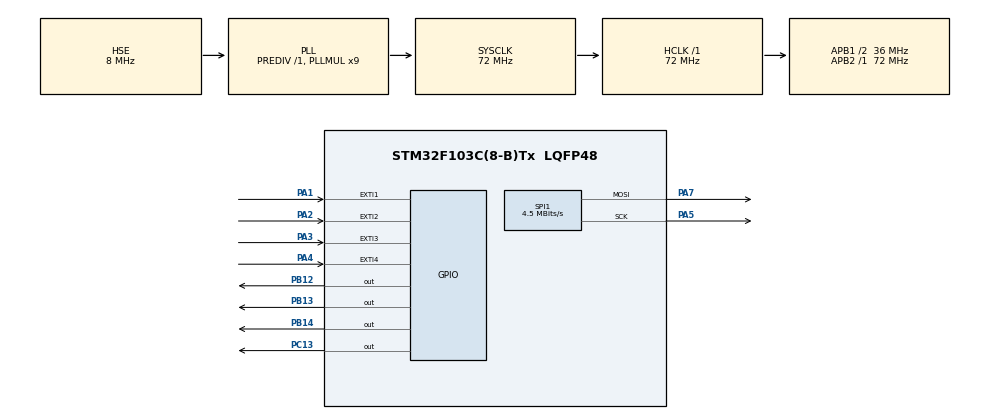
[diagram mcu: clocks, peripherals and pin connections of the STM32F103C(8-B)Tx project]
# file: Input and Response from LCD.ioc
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Mcu.Family=STM32F1
Mcu.Name=STM32F103C(8-B)Tx
Mcu.Package=LQFP48
NVIC.EXTI1_IRQn=true\:0\:0\:false\:false\:true\:true\:true\:true
NVIC.EXTI2_IRQn=true\:0\:0\:false\:false\:true\:true\:true\:true
NVIC.EXTI3_IRQn=true\:0\:0\:false\:false\:true\:true\:true\:true
NVIC.EXTI4_IRQn=true\:0\:0\:false\:false\:true\:true\:true\:true
NVIC.PriorityGroup=NVIC_PRIORITYGROUP_4
PA1.GPIO_PuPd=GPIO_PULLUP
PA1.Signal=GPXTI1
PA13.Mode=Serial_Wire
PA13.Signal=SYS_JTMS-SWDIO
PA14.Mode=Serial_Wire
PA14.Signal=SYS_JTCK-SWCLK
PA2.GPIO_PuPd=GPIO_PULLUP
PA2.Signal=GPXTI2
PA3.GPIO_PuPd=GPIO_PULLUP
PA3.Signal=GPXTI3
PA4.GPIO_PuPd=GPIO_PULLUP
PA4.Signal=GPXTI4
PA5.Mode=TX_Only_Simplex_Unidirect_Master
PA5.Signal=SPI1_SCK
PA7.Mode=TX_Only_Simplex_Unidirect_Master
PA7.Signal=SPI1_MOSI
PB12.Signal=GPIO_Output
PB13.Signal=GPIO_Output
PB14.Signal=GPIO_Output
PC13-TAMPER-RTC.GPIO_Speed=GPIO_SPEED_FREQ_HIGH
PC13-TAMPER-RTC.Signal=GPIO_Output
PD0-OSC_IN.Mode=HSE-External-Oscillator
PD0-OSC_IN.Signal=RCC_OSC_IN
PD1-OSC_OUT.Mode=HSE-External-Oscillator
PD1-OSC_OUT.Signal=RCC_OSC_OUT
ProjectManager.HeapSize=0x200
ProjectManager.StackSize=0x400
ProjectManager.TargetToolchain=MDK-ARM V5.32
RCC.AHBFreq_Value=72000000
RCC.APB1CLKDivider=RCC_HCLK_DIV2
RCC.APB1Freq_Value=36000000
RCC.APB1TimFreq_Value=72000000
RCC.APB2Freq_Value=72000000
RCC.APB2TimFreq_Value=72000000
RCC.HCLKFreq_Value=72000000
RCC.PLLMUL=RCC_PLL_MUL9
RCC.PLLSourceVirtual=RCC_PLLSOURCE_HSE
RCC.SYSCLKFreq_VALUE=72000000
RCC.SYSCLKSource=RCC_SYSCLKSOURCE_PLLCLK
RCC.USBFreq_Value=72000000
SPI1.BaudRatePrescaler=SPI_BAUDRATEPRESCALER_16
SPI1.CalculateBaudRate=4.5 MBits/s
SPI1.Direction=SPI_DIRECTION_2LINES
SPI1.Mode=SPI_MODE_MASTER
SPI1.VirtualType=VM_MASTER
board=custom

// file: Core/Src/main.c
/* USER CODE BEGIN Header */
/**
  ******************************************************************************
  * @file           : main.c
  * @brief          : Main program body
  ******************************************************************************
  * @attention
  *
  * Copyright (c) 2023 STMicroelectronics.
  * All rights reserved.
  *
  * This software is licensed under terms that can be found in the LICENSE file
  * in the root directory of this software component.
  * If no LICENSE file comes with this software, it is provided AS-IS.
  *
  ******************************************************************************
  */
/* USER CODE END Header */
#include "main.h"

/* USER CODE BEGIN Includes */
#include "fonts.h"
#include "ST7735.h"
#include <cstring>
#include <time.h>
#include <stdlib.h>
#include <stdio.h>
#include <math.h>

/* USER CODE END Includes */

/* USER CODE BEGIN PD */
#define WIDTH      					ST7735_WIDTH 						// display width in pixels
#define HEIGHT      				ST7735_HEIGHT 						// display height in pixels
#define SNAKE_SIZE  				5   						// initial snake size
#define Background_Color 		ST7735_CYAN 		//In-game background color
#define Snake_Color					ST7735_BLUE  		//In_game snake color
#define Apple_Color 				ST7735_RED			//In-game apple color
#define UP									0   						//We use 0-3 numbers for directions
#define DOWN								1
#define RIGHT								2
#define LEFT								3
#define Cube_Size						6							//cube size for snake blocks and apple (LENGTH = 16 AND WIDTH = 16)
#define UpperLimitX         22            //limits for random number generation;
#define LowerLimitX         1							//for x and y coordinates of apple;
#define UpperLimitY         27 						//
#define LowerLimitY         1							//
#define Offset							(Cube_Size/2 - 1)  //fixes the postion of boxes onscreen
//#define ScreenRefreshDelay  300;							 //to match display rate with realtime operation
//#define TextDisp						1000;
/* USER CODE END PD */

SPI_HandleTypeDef hspi1;

/* USER CODE BEGIN PV */
int ScreenRefreshDelay = 200;
int TextDisp = 2000;
int inMenu = 0;
int CurrentLength = SNAKE_SIZE;
int CurrentDir;
int LastX = WIDTH - Cube_Size; 			//for snake's last box X
int LastY = HEIGHT - Cube_Size;			//for snake's last box Y
uint32_t previousMillis = 0;
uint32_t currentMillis = 0;
//int Direction[4] = {0, 0, 0, 0}; //[UP, DOWN, RIGHT, LEFT]
int dir = UP; //0 for UP, 1 for DOWN, 2 for RIGHT, 3 for LEFT

struct appleLoc {  //structure for coordinates of apple
	int x;
	int y;
};

struct snake {
	int x;
	int y;
};

/* USER CODE END PV */

void SystemClock_Config(void);
static void MX_GPIO_Init(void);
static void MX_SPI1_Init(void);

/* USER CODE BEGIN 0 */

struct appleLoc apple;  //initialized an appleLoc structure named apple
struct snake Snake[100]; //initialized a snake array structure named Snake with upto 100 blocks

//Function Definitions
void Menu_Init();
void Game_Init();
void Game_draw();
void New_Apple();
int Game_move();
void Loss_Message();
void Loss_Check();
void goUp();
void goDown();
void goLeft();
void goRight();

//Menu functions
void Menu_Init()
{
	inMenu = 1;
	ST7735_FillScreen(ST7735_YELLOW);
	ST7735_DrawString( WIDTH/2 - 28 , HEIGHT/2 , "PRESS UP", Font_7x10 , ST7735_RED , ST7735_YELLOW);					//Each character takes 7 pixel horizontal, 10 pixel vertical,
	ST7735_DrawString(  WIDTH/2 - 28 , HEIGHT/2 + 10 , "TO START", Font_7x10 , ST7735_RED , ST7735_YELLOW);		//Added 10 to Y axis for next line
	HAL_Delay(5);
	dir = DOWN;
	while(dir != UP)
	{
		HAL_Delay(1); //Delay required to register input from button
	}
	HAL_GPIO_TogglePin(GPIOC, GPIO_PIN_13);
	ST7735_FillScreen(ST7735_YELLOW);
	ST7735_DrawString( WIDTH/2 - 56 , HEIGHT/2 , "GAME STARTING...", Font_7x10 , ST7735_RED , ST7735_YELLOW);
	HAL_Delay(TextDisp);
}

void Game_Init()
{
	apple.x = ((rand() % (UpperLimitX - LowerLimitX + 1)) * Cube_Size) - 2;
  apple.y = ((rand() % (UpperLimitY - LowerLimitY + 1)) * Cube_Size) + 2;
	CurrentLength = SNAKE_SIZE;			//Initial snake size is 5 blocks
	CurrentDir = UP;								//Initial snake direction
	for(int i = 0; i < CurrentLength; i++) //initialized snake blocks' spawn location
	{
		Snake[i].x = (WIDTH/2);
		Snake[i].y = (HEIGHT/2) + (Cube_Size * i);
	}
	ST7735_FillScreen(Background_Color);  //Cleared the screen for game
	inMenu = 0;
}

void Game_draw()
{
	//Written By Muzammil
	 // Clear the screen
  //ST7735_FillScreen(Background_Color); //Edited by Faseeh (Not Needed)

	// Draw the apple
  ST7735_FillRectangle(apple.x - Offset, apple.y - Offset, Cube_Size - 1, Cube_Size - 1, Apple_Color); //Edited by Faseeh; subtracted 1 from w and h for empty space

  // Draw the snake //Edited by Faseeh (drawing the boxes on new location and removing the last box)
	ST7735_FillRectangle(LastX - Offset, LastY - Offset, Cube_Size - 1, Cube_Size - 1, Background_Color);
  for (int i = 0; i < CurrentLength; i++) {
    ST7735_FillRectangle(Snake[i].x - Offset, Snake[i].y - Offset, Cube_Size - 1, Cube_Size - 1, Snake_Color);
  }

	//Edited by Faseeh (Border not needed)
  // Draw a border around the snake and apples
  //ST7735_DrawRect(Snake[0].x, Snake[0].y, Cube_Size, Cube_Size, ST7735_BLACK);
  //ST7735_DrawRect(apple.x, apple.y, Cube_Size, Cube_Size, ST7735_BLACK);
}

void New_Apple()
{

	//Written By Muzammil
	// Generate random coordinates for the apple
  apple.x = ((rand() % (UpperLimitX - LowerLimitX + 1)) * Cube_Size) - 2; //Edited by Faseeh;Added limits for rand generator
  apple.y = ((rand() % (UpperLimitY - LowerLimitY + 1)) * Cube_Size) + 2;   //Edited by Faseeh;Added limits for rand generator
}

int Game_move()
{
	//Written by Faseeh
	 //Check if the snake has eaten the apple
  if(Snake[0].x == apple.x  &&  Snake[0].y == apple.y)
  {
    CurrentLength += 1;
		New_Apple();
	//	LastX = Snake[CurrentLength - 2].x;  //Save position of last box but current length increased so minus 2
	//	LastY = Snake[CurrentLength - 2].y;
  }

	LastX = Snake[CurrentLength - 1].x;
	LastY = Snake[CurrentLength - 1].y;

	// Update position of other snake blocks

	for(int i = CurrentLength - 1 ; i > 0 ; i--)
	{
		Snake[i].x = Snake[i-1].x;
		Snake[i].y = Snake[i-1].y;
	}

  // Move the snake
  if(dir == UP) 				Snake[0].y -= Cube_Size;
  else if(dir == DOWN)	Snake[0].y += Cube_Size;
  else if(dir == RIGHT)	Snake[0].x += Cube_Size;
  else if(dir == LEFT)	Snake[0].x -= Cube_Size;

  // Check if the snake has hit a wall
  //if(Snake[0].y < 0 || Snake[0].y > HEIGHT || Snake[0].x > WIDTH || Snake[0].x < 0)//If snake goes beyond screen boundary
  //{
	//	return 1;
  //  //Snake[0].y = HEIGHT - (Cube_Size);  //Send it to bottom of screen
  //}
  //if(Snake[0].y > HEIGHT)						//If snake goes below screen boundary
  //{
  //  Snake[0].y = (Cube_Size);  //Send it to top of screen
  //}
  //if(Snake[0].x > WIDTH)						//If snake goes right and out of screen boundary
  //{
  //  Snake[0].x = (Cube_Size);  //Send it to left of screen
  //}
  //if(Snake[0].x < 0)						//If snake goes left and out of screen boundary
  //{
  //  Snake[0].x = WIDTH - (Cube_Size);  //Send it to right of screen
  //}
	return 0;
}

void Loss_Message()
{
	//Written by Faseeh
	ST7735_FillScreen(ST7735_RED);
	ST7735_DrawString(WIDTH/2 - 21 , HEIGHT/2, "YOU LOST", Font_7x10, ST7735_YELLOW, ST7735_RED);
	HAL_Delay(TextDisp);
}

void Loss_Check()
{
	//Written by Faseeh
	int i;
	// Check if the snake has hit a wall
  if(Snake[0].y < 0 || Snake[0].y > HEIGHT || Snake[0].x > WIDTH || Snake[0].x < 0)
	{
		goto Loss;
	}
	//check if the snake itself
	for(i=3; i<=CurrentLength; i++)  //iterate through all blocks
	{
		if(Snake[0].x == Snake[i].x  &&  Snake[0].y == Snake[i].y)	//checking against each blocks x and y axis
		{
			Loss:
			Loss_Message();
			Menu_Init();				//Going into menu again
			Game_Init();
			//return 1;
		}
	}
	//return 0;
}

//Written By Faseeh
void goUp()
{
    if (dir == RIGHT || dir == LEFT) dir = UP; //LEFT or RIGHT, so UP
}

void goDown()
{
    if (dir == RIGHT || dir == LEFT) dir = DOWN; //LEFT or RIGHT, so DOWN
}

void goLeft()
{
    if (dir == UP || dir == DOWN) dir = LEFT; //UP or DOWN, so LEFT
}

void goRight()
{
    if (dir == UP || dir == DOWN) dir = RIGHT; //UP or DOWN, so RIGHT
}

/* USER CODE END 0 */

int main(void)
{

  /* MCU Configuration--------------------------------------------------------*/

  /* Reset of all peripherals, Initializes the Flash interface and the Systick. */
  HAL_Init();

  /* Configure the system clock */
  SystemClock_Config();

  /* Initialize all configured peripherals */
  MX_GPIO_Init();
  MX_SPI1_Init();
  /* USER CODE BEGIN 2 */
	ST7735_Init();
  //ST7735_Backlight_On();
	ST7735_SetRotation(2);
	HAL_GPIO_TogglePin(GPIOC, GPIO_PIN_13);
	Menu_Init();
	HAL_GPIO_TogglePin(GPIOC, GPIO_PIN_13);
	Game_Init();
	HAL_GPIO_TogglePin(GPIOC, GPIO_PIN_13);
  /* USER CODE END 2 */

  /* Infinite loop */
  /* USER CODE BEGIN WHILE */
  while (1)
  {

		//ONLY FOR DEBUGGING!!!
		//ST7735_DrawLine(WIDTH/2, 0, WIDTH/2, HEIGHT, ST7735_RED);
		//ST7735_DrawLine(0, HEIGHT/2, WIDTH, HEIGHT/2, ST7735_RED);
		//ST7735_FillRectangle(WIDTH/2 - (Cube_Size/2 - 1), HEIGHT/2 - (Cube_Size/2 - 1), Cube_Size -1, Cube_Size -1, ST7735_BLUE);
		//for(i = 0; i<CurrentLength; i++)
		//{
		//	char corr = (char)(Snake[i].x) + (char)(Snake[i].y);
		//	ST7735_DrawString(WIDTH - 20, 0, &corr, Font_7x10, ST7735_RED, Background_Color);
		//}

		HAL_GPIO_TogglePin(GPIOC, GPIO_PIN_13);
		HAL_Delay(ScreenRefreshDelay);

		Game_draw(); //Display the game

		HAL_GPIO_TogglePin(GPIOC, GPIO_PIN_13);
		HAL_Delay(ScreenRefreshDelay);

		Loss_Check();

		HAL_GPIO_TogglePin(GPIOC, GPIO_PIN_13);
		HAL_Delay(ScreenRefreshDelay);

		Game_move();	//get next move

    /* USER CODE END WHILE */

  }
}

void SystemClock_Config(void)
{
  RCC_OscInitTypeDef RCC_OscInitStruct = {0};
  RCC_ClkInitTypeDef RCC_ClkInitStruct = {0};

  /** Initializes the RCC Oscillators according to the specified parameters
  * in the RCC_OscInitTypeDef structure.
  */
  RCC_OscInitStruct.OscillatorType = RCC_OSCILLATORTYPE_HSE;
  RCC_OscInitStruct.HSEState = RCC_HSE_ON;
  RCC_OscInitStruct.HSEPredivValue = RCC_HSE_PREDIV_DIV1;
  RCC_OscInitStruct.HSIState = RCC_HSI_ON;
  RCC_OscInitStruct.PLL.PLLState = RCC_PLL_ON;
  RCC_OscInitStruct.PLL.PLLSource = RCC_PLLSOURCE_HSE;
  RCC_OscInitStruct.PLL.PLLMUL = RCC_PLL_MUL9;
  if (HAL_RCC_OscConfig(&RCC_OscInitStruct) != HAL_OK)
  {
    Error_Handler();
  }

  /** Initializes the CPU, AHB and APB buses clocks
  */
  RCC_ClkInitStruct.ClockType = RCC_CLOCKTYPE_HCLK|RCC_CLOCKTYPE_SYSCLK
                              |RCC_CLOCKTYPE_PCLK1|RCC_CLOCKTYPE_PCLK2;
  RCC_ClkInitStruct.SYSCLKSource = RCC_SYSCLKSOURCE_PLLCLK;
  RCC_ClkInitStruct.AHBCLKDivider = RCC_SYSCLK_DIV1;
  RCC_ClkInitStruct.APB1CLKDivider = RCC_HCLK_DIV2;
  RCC_ClkInitStruct.APB2CLKDivider = RCC_HCLK_DIV1;

  if (HAL_RCC_ClockConfig(&RCC_ClkInitStruct, FLASH_LATENCY_2) != HAL_OK)
  {
    Error_Handler();
  }
}

static void MX_SPI1_Init(void)
{

  /* SPI1 parameter configuration*/
  hspi1.Instance = SPI1;
  hspi1.Init.Mode = SPI_MODE_MASTER;
  hspi1.Init.Direction = SPI_DIRECTION_2LINES;
  hspi1.Init.DataSize = SPI_DATASIZE_8BIT;
  hspi1.Init.CLKPolarity = SPI_POLARITY_LOW;
  hspi1.Init.CLKPhase = SPI_PHASE_1EDGE;
  hspi1.Init.NSS = SPI_NSS_SOFT;
  hspi1.Init.BaudRatePrescaler = SPI_BAUDRATEPRESCALER_16;
  hspi1.Init.FirstBit = SPI_FIRSTBIT_MSB;
  hspi1.Init.TIMode = SPI_TIMODE_DISABLE;
  hspi1.Init.CRCCalculation = SPI_CRCCALCULATION_DISABLE;
  hspi1.Init.CRCPolynomial = 10;
  if (HAL_SPI_Init(&hspi1) != HAL_OK)
  {
    Error_Handler();
  }

}

static void MX_GPIO_Init(void)
{
  GPIO_InitTypeDef GPIO_InitStruct = {0};

  /* GPIO Ports Clock Enable */
  __HAL_RCC_GPIOC_CLK_ENABLE();
  __HAL_RCC_GPIOD_CLK_ENABLE();
  __HAL_RCC_GPIOA_CLK_ENABLE();
  __HAL_RCC_GPIOB_CLK_ENABLE();

  /*Configure GPIO pin Output Level */
  HAL_GPIO_WritePin(GPIOC, GPIO_PIN_13, GPIO_PIN_RESET);

  /*Configure GPIO pin Output Level */
  HAL_GPIO_WritePin(GPIOB, GPIO_PIN_12|GPIO_PIN_13|GPIO_PIN_14, GPIO_PIN_RESET);

  /*Configure GPIO pin : PC13 */
  GPIO_InitStruct.Pin = GPIO_PIN_13;
  GPIO_InitStruct.Mode = GPIO_MODE_OUTPUT_PP;
  GPIO_InitStruct.Pull = GPIO_NOPULL;
  GPIO_InitStruct.Speed = GPIO_SPEED_FREQ_HIGH;
  HAL_GPIO_Init(GPIOC, &GPIO_InitStruct);

  /*Configure GPIO pins : PA1 PA2 PA3 PA4 */
  GPIO_InitStruct.Pin = GPIO_PIN_1|GPIO_PIN_2|GPIO_PIN_3|GPIO_PIN_4;
  GPIO_InitStruct.Mode = GPIO_MODE_IT_RISING;
  GPIO_InitStruct.Pull = GPIO_PULLUP;
  HAL_GPIO_Init(GPIOA, &GPIO_InitStruct);

  /*Configure GPIO pins : PB12 PB13 PB14 */
  GPIO_InitStruct.Pin = GPIO_PIN_12|GPIO_PIN_13|GPIO_PIN_14;
  GPIO_InitStruct.Mode = GPIO_MODE_OUTPUT_PP;
  GPIO_InitStruct.Pull = GPIO_NOPULL;
  GPIO_InitStruct.Speed = GPIO_SPEED_FREQ_LOW;
  HAL_GPIO_Init(GPIOB, &GPIO_InitStruct);

  /* EXTI interrupt init*/
  HAL_NVIC_SetPriority(EXTI1_IRQn, 0, 0);
  HAL_NVIC_EnableIRQ(EXTI1_IRQn);

  HAL_NVIC_SetPriority(EXTI2_IRQn, 0, 0);
  HAL_NVIC_EnableIRQ(EXTI2_IRQn);

  HAL_NVIC_SetPriority(EXTI3_IRQn, 0, 0);
  HAL_NVIC_EnableIRQ(EXTI3_IRQn);

  HAL_NVIC_SetPriority(EXTI4_IRQn, 0, 0);
  HAL_NVIC_EnableIRQ(EXTI4_IRQn);

}

/* USER CODE BEGIN 4 */

//All User-Functions Defined Here

void HAL_GPIO_EXTI_Callback(uint16_t GPIO_Pin)
{
  currentMillis = HAL_GetTick();
	if(inMenu == 0)
	{
		if (GPIO_Pin == GPIO_PIN_1 && (currentMillis - previousMillis > 10))
		{
			goUp(); //UP is active
			previousMillis = currentMillis;
		}
		if (GPIO_Pin == GPIO_PIN_2 && (currentMillis - previousMillis > 10))
		{
			goDown();  //Down is active
			previousMillis = currentMillis;
		}
		if (GPIO_Pin == GPIO_PIN_3 && (currentMillis - previousMillis > 10))
		{
			goRight(); //Right is active
			previousMillis = currentMillis;
		}
		if (GPIO_Pin == GPIO_PIN_4 && (currentMillis - previousMillis > 10))
		{
			goLeft();  //Left is active
			previousMillis = currentMillis;
		}
	}
	else
	{
		if (GPIO_Pin == GPIO_PIN_1 && (currentMillis - previousMillis > 10))
		{
			dir = UP;
			previousMillis = currentMillis;
		}
	}
}

/* USER CODE END 4 */

void Error_Handler(void)
{
  __disable_irq();
  while (1)
  {
  }
}
